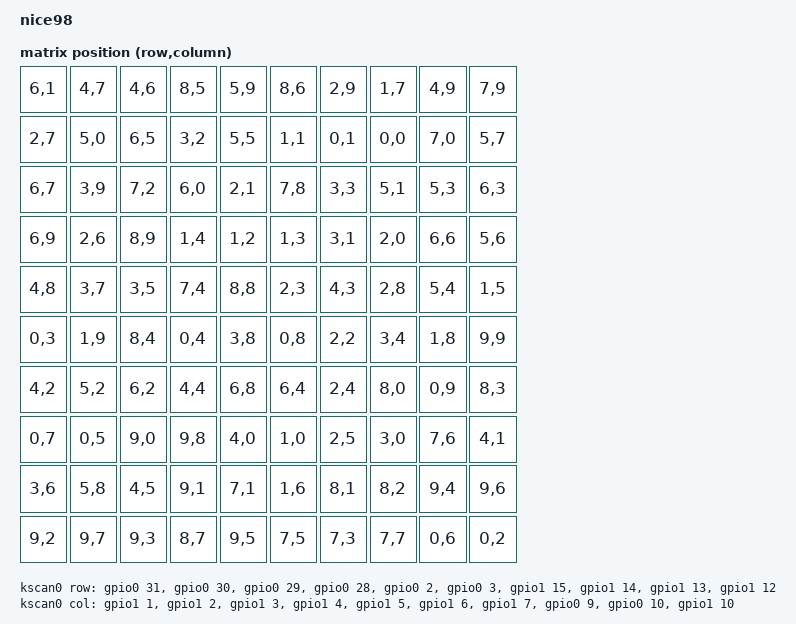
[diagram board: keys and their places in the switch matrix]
/*
 * Copyright (c) 2021 Nick Winans
 *
 * SPDX-License-Identifier: MIT
 */

/dts-v1/;
#include <nordic/nrf52840_qiaa.dtsi>

#include <dt-bindings/led/led.h>
#include <dt-bindings/zmk/matrix_transform.h>

#include "nice98-pinctrl.dtsi"

/ {
    model = "nice98";
    compatible = "nice,98";

    chosen {
        zephyr,code-partition = &code_partition;
        zephyr,sram = &sram0;
        zephyr,flash = &flash0;
        zmk,battery = &vbatt;
        zmk,kscan = &kscan0;
        zmk,matrix-transform = &default_transform;
        zmk,underglow = &led_strip;
    };

    default_transform: keymap_transform_0 {
        compatible = "zmk,matrix-transform";
        columns = <10>;
        rows = <10>;
        map = <
RC(6,1) RC(4,7) RC(4,6) RC(8,5) RC(5,9) RC(8,6) RC(2,9) RC(1,7) RC(4,9) RC(7,9)
RC(2,7) RC(5,0) RC(6,5) RC(3,2) RC(5,5) RC(1,1) RC(0,1) RC(0,0) RC(7,0) RC(5,7)
RC(6,7) RC(3,9) RC(7,2) RC(6,0) RC(2,1) RC(7,8) RC(3,3) RC(5,1) RC(5,3) RC(6,3)
RC(6,9) RC(2,6) RC(8,9) RC(1,4) RC(1,2) RC(1,3) RC(3,1) RC(2,0) RC(6,6) RC(5,6)
RC(4,8) RC(3,7) RC(3,5) RC(7,4) RC(8,8) RC(2,3) RC(4,3) RC(2,8) RC(5,4) RC(1,5)
RC(0,3) RC(1,9) RC(8,4) RC(0,4) RC(3,8) RC(0,8) RC(2,2) RC(3,4) RC(1,8) RC(9,9)
RC(4,2) RC(5,2) RC(6,2) RC(4,4) RC(6,8) RC(6,4) RC(2,4) RC(8,0) RC(0,9) RC(8,3)
RC(0,7) RC(0,5) RC(9,0) RC(9,8) RC(4,0) RC(1,0) RC(2,5) RC(3,0) RC(7,6) RC(4,1)
RC(3,6) RC(5,8) RC(4,5) RC(9,1) RC(7,1) RC(1,6) RC(8,1) RC(8,2) RC(9,4) RC(9,6)
RC(9,2) RC(9,7) RC(9,3) RC(8,7) RC(9,5) RC(7,5) RC(7,3) RC(7,7) RC(0,6) RC(0,2)
        >;
    };

    kscan0: kscan {
        compatible = "zmk,kscan-gpio-matrix";
        wakeup-source;

        diode-direction = "col2row";
        row-gpios
            = <&gpio0 31 (GPIO_ACTIVE_HIGH | GPIO_PULL_DOWN)>
			, <&gpio0 30 (GPIO_ACTIVE_HIGH | GPIO_PULL_DOWN)>
			, <&gpio0 29 (GPIO_ACTIVE_HIGH | GPIO_PULL_DOWN)>
			, <&gpio0 28 (GPIO_ACTIVE_HIGH | GPIO_PULL_DOWN)>
			, <&gpio0 2 (GPIO_ACTIVE_HIGH | GPIO_PULL_DOWN)>
			, <&gpio0 3 (GPIO_ACTIVE_HIGH | GPIO_PULL_DOWN)>
			, <&gpio1 15 (GPIO_ACTIVE_HIGH | GPIO_PULL_DOWN)>
			, <&gpio1 14 (GPIO_ACTIVE_HIGH | GPIO_PULL_DOWN)>
            , <&gpio1 13 (GPIO_ACTIVE_HIGH | GPIO_PULL_DOWN)>
            , <&gpio1 12 (GPIO_ACTIVE_HIGH | GPIO_PULL_DOWN)>
            ;
        col-gpios
            = <&gpio1 1  GPIO_ACTIVE_HIGH>
            , <&gpio1 2  GPIO_ACTIVE_HIGH>
			, <&gpio1 3  GPIO_ACTIVE_HIGH>
			, <&gpio1 4  GPIO_ACTIVE_HIGH>
			, <&gpio1 5  GPIO_ACTIVE_HIGH>
			, <&gpio1 6  GPIO_ACTIVE_HIGH>
			, <&gpio1 7  GPIO_ACTIVE_HIGH>
			, <&gpio0 9  GPIO_ACTIVE_HIGH>
			, <&gpio0 10  GPIO_ACTIVE_HIGH>
			, <&gpio1 10 GPIO_ACTIVE_HIGH>
            ;
    };

    leds {
        compatible = "gpio-leds";
        blue_led: led_0 {
            gpios = <&gpio0 26 GPIO_ACTIVE_HIGH>;
        };
    };

    // Node name must match original "EXT_POWER" label to preserve user settings.
    EXT_POWER {
        compatible = "zmk,ext-power-generic";
        control-gpios = <&gpio0 5 GPIO_ACTIVE_LOW>;
    };

    vbatt: vbatt {
        compatible = "zmk,battery-voltage-divider";
        io-channels = <&adc 2>;
        output-ohms = <2000000>;
        full-ohms = <(2000000 + 806000)>;
    };
};

&adc {
    status = "okay";
};

&gpiote {
    status = "okay";
};

&gpio0 {
    status = "okay";
};

&gpio1 {
    status = "okay";
};

&spi3 {
    compatible = "nordic,nrf-spim";

    pinctrl-0 = <&spi3_default>;
    pinctrl-names = "default";
    status = "okay";

    led_strip: ws2812@0 {
        compatible = "worldsemi,ws2812-spi";

        /* SPI */
        reg = <0>; /* ignored, but necessary for SPI bindings */
        spi-max-frequency = <4000000>;

        /* WS2812 */
        chain-length = <12>; /* LED strip length */
        spi-one-frame = <0x70>;
        spi-zero-frame = <0x40>;
        color-mapping = <LED_COLOR_ID_GREEN LED_COLOR_ID_RED LED_COLOR_ID_BLUE>;
    };
};

zephyr_udc0: &usbd {
    status = "okay";
};

&flash0 {
    /*
     * For more information, see:
     * http://docs.zephyrproject.org/latest/devices/dts/flash_partitions.html
     */
    partitions {
        compatible = "fixed-partitions";
        #address-cells = <1>;
        #size-cells = <1>;

        sd_partition: partition@0 {
            reg = <0x00000000 0x00001000>;
        };

        code_partition: partition@1000 {
            reg = <0x00001000 0x000d3000>;
        };

        /*
         * The flash starting at 0x000d4000 and ending at
         * 0x000f3fff is reserved for use by the application.
         */

        /*
         * Storage partition will be used by FCB/LittleFS/NVS
         * if enabled.
         */
        storage_partition: partition@d4000 {
            reg = <0x000d4000 0x00020000>;
        };

        boot_partition: partition@f4000 {
            reg = <0x000f4000 0x0000c000>;
        };
    };
};
